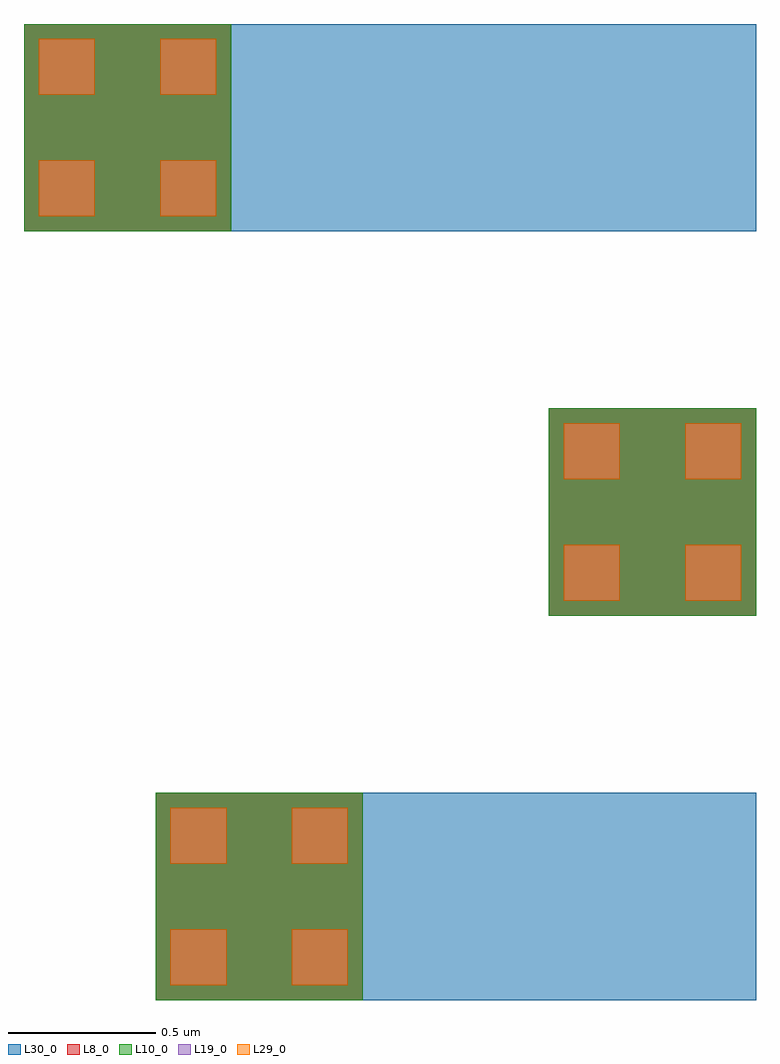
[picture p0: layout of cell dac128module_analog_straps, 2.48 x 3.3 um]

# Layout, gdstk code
import gdstk
lib = gdstk.Library(unit=1e-6, precision=1e-09)
def R(c, l, rs):  # rectangles x0, y0, x1, y1
    for r in rs: c.add(gdstk.rectangle(r[:2], r[2:], *l))
L8_0 = (8, 0)
L10_0 = (10, 0)
L19_0 = (19, 0)
L29_0 = (29, 0)
L30_0 = (30, 0)

via_stack_7 = lib.new_cell('via_stack$7')
R(via_stack_7, L8_0, [(-0.35,-0.35,0.35,0.35)])
R(via_stack_7, L10_0, [(-0.35,-0.35,0.35,0.35)])
R(via_stack_7, L19_0, [(-0.3,-0.3,-0.11,-0.11), (0.11,-0.3,0.3,-0.11), (-0.3,0.11,-0.11,0.3), (0.11,0.11,0.3,0.3)])
R(via_stack_7, L29_0, [(-0.3,-0.3,-0.11,-0.11), (0.11,-0.3,0.3,-0.11), (-0.3,0.11,-0.11,0.3), (0.11,0.11,0.3,0.3)])
R(via_stack_7, L30_0, [(-0.35,-0.35,0.35,0.35)])

dac128module_analog_stra = lib.new_cell('dac128module_analog_straps')
dac128module_analog_stra.add(gdstk.FlexPath([(-2.125,1.3),(0.35,1.3)], 0.7, ends="flush", simple_path=True, layer=30, datatype=0))  # L30_0
dac128module_analog_stra.add(gdstk.FlexPath([(-1.68,-1.3),(0.35,-1.3)], 0.7, ends="flush", simple_path=True, layer=30, datatype=0))  # L30_0
dac128module_analog_stra.add(gdstk.Reference(via_stack_7, (0,0)))
dac128module_analog_stra.add(gdstk.Reference(via_stack_7, (-1.775,1.3)))
dac128module_analog_stra.add(gdstk.Reference(via_stack_7, (-1.33,-1.3)))

lib.write_gds('dac128module_analog_straps.gds')
